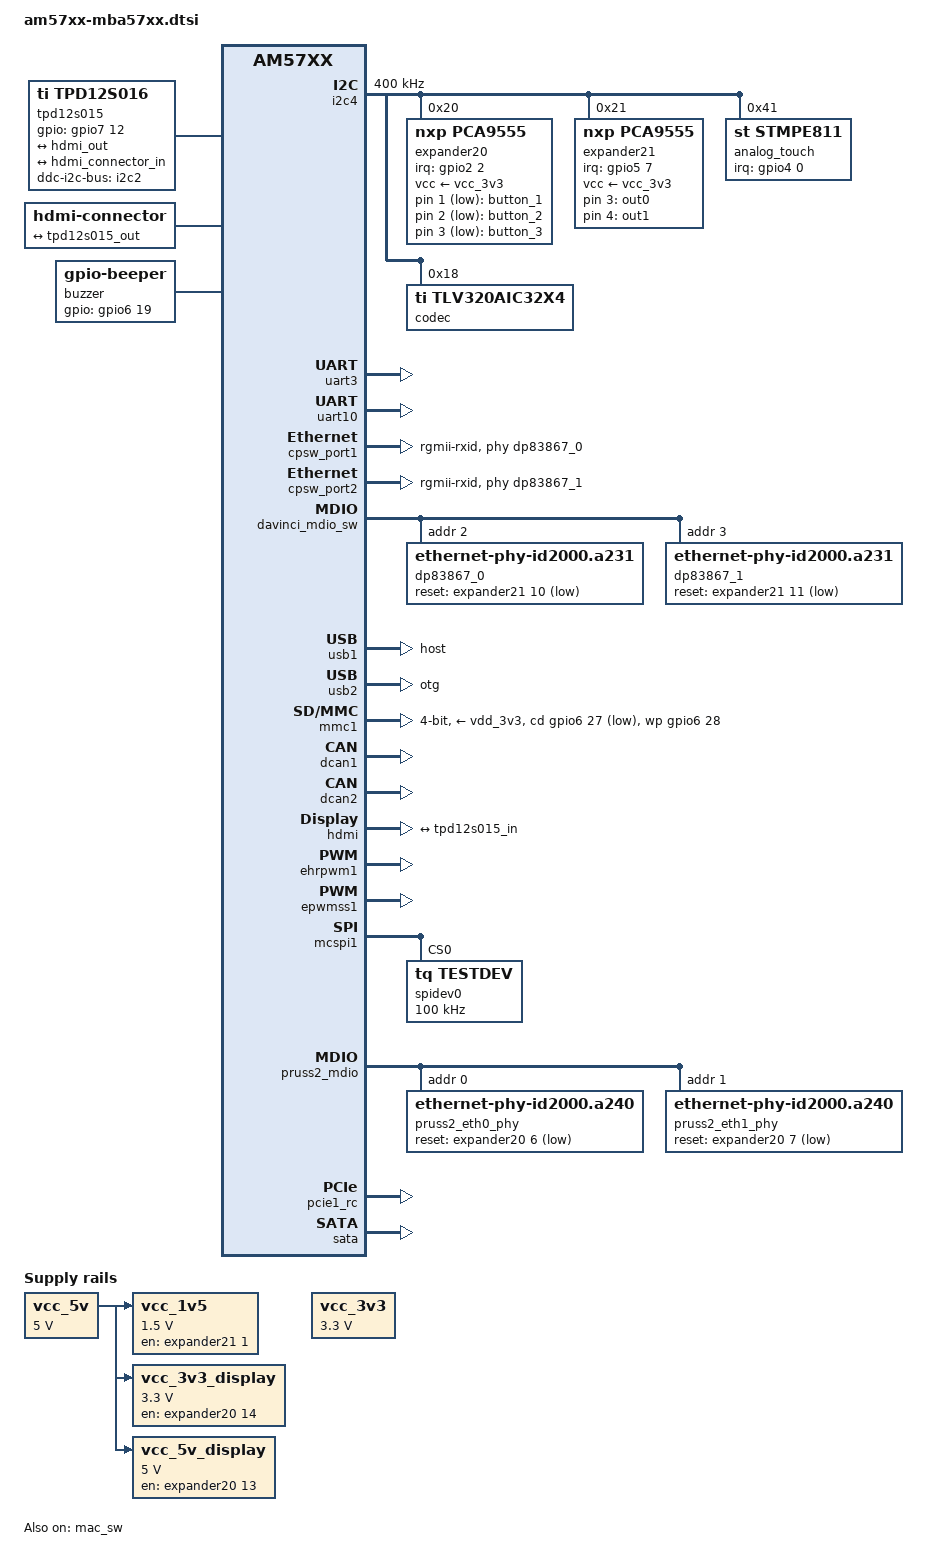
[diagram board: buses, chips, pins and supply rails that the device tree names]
// SPDX-License-Identifier: GPL-2.0-or-later OR MIT
/*
 * Device Tree file for TQ-Systems MBa57xx baseboard.
 *
 * Copyright (c) 2020-2022 TQ-Systems GmbH <linux@ew.tq-group.com>, D-82229 Seefeld, Germany.
 * Author: Michael Krummsdorf, Matthias Schiffer
 */

#include <dt-bindings/gpio/gpio.h>
#include <dt-bindings/interrupt-controller/irq.h>
#include <dt-bindings/net/ti-dp83867.h>
#include <dt-bindings/input/input.h>

/ {
	aliases {
		display0 = &hdmi0;
		ethernet2 = &pruss2_emac0;
		ethernet3 = &pruss2_emac1;
		mmc1 = &mmc1;
		spi1 = &mcspi1;
	};


	chosen {
		stdout-path = &uart3;
	};

	gpio-keys {
		compatible = "gpio-keys";

		button0 {
			label = "button_1";
			gpios = <&expander20 1 GPIO_ACTIVE_LOW>;
			linux,code = <KEY_HOME>;
			wakeup-source;
		};

		button1 {
			label = "button_2";
			gpios = <&expander20 2 GPIO_ACTIVE_LOW>;
			linux,code = <KEY_UP>;
			wakeup-source;
		};

		button2 {
			label = "button_3";
			gpios = <&expander20 3 GPIO_ACTIVE_LOW>;
			linux,code = <KEY_DOWN>;
			wakeup-source;
		};
	};

	gpio-leds {
		compatible = "gpio-leds";

		led-out0 {
			label = "out0";
			gpios = <&expander21 3 GPIO_ACTIVE_HIGH>;
			default-state = "off";
		};

		led-out1 {
			label = "out1";
			gpios = <&expander21 4 GPIO_ACTIVE_HIGH>;
			default-state = "off";
		};
	};

	/* HDMI companion chip */
	tpd12s015: encoder {
		compatible = "ti,tpd12s016", "ti,tpd12s015";
		gpios = <0>, /* optional CT_CP_HPD */
			<0>, /* optional LS_OE */
			<&gpio7 12 GPIO_ACTIVE_HIGH>;   /* HPD */
		pinctrl-names = "ddc";
		pinctrl-0 = <&hdmi_i2c_pins_ddc>;
		ddc-i2c-bus = <&i2c2>;

		ports {
			#address-cells = <1>;
			#size-cells = <0>;

			port@0 {
				reg = <0>;
				tpd12s015_in: endpoint@0 {
					remote-endpoint = <&hdmi_out>;
				};
			};

			port@1 {
				reg = <1>;
				tpd12s015_out: endpoint@0 {
					remote-endpoint = <&hdmi_connector_in>;
				};
			};
		};
	};

	hdmi0: hdmi-connector {
		compatible = "hdmi-connector";
		label = "hdmi";
		type = "a";

		port {
			hdmi_connector_in: endpoint {
				remote-endpoint = <&tpd12s015_out>;
			};
		};
	};

	vcc_5v: regulator-vcc_5v {
		compatible = "regulator-fixed";
		regulator-name = "VCC5V";
		regulator-min-microvolt = <5000000>;
		regulator-max-microvolt = <5000000>;
		regulator-always-on;
		regulator-boot-on;
	};

	vcc_3v3: regulator-vcc_3v3 {
		compatible = "regulator-fixed";
		regulator-name = "VCC3V3";
		regulator-min-microvolt = <3300000>;
		regulator-max-microvolt = <3300000>;
		regulator-always-on;
		regulator-boot-on;
	};

	/* miniPCIe */
	vcc_1v5: regulator-vcc_1v5 {
		/* TPS62090RGT */
		compatible = "regulator-fixed";
		regulator-name = "VCC1V5";
		vin-supply = <&vcc_5v>;
		regulator-min-microvolt = <1500000>;
		regulator-max-microvolt = <1500000>;
		gpio = <&expander21 1 GPIO_ACTIVE_HIGH>;
		enable-active-high;
		regulator-boot-on;
	};

	vcc_3v3_display: regulator-vcc_3v3_display {
		/* TPS62090RGT */
		compatible = "regulator-fixed";
		regulator-name = "VCC3V3_DISPLAY";
		vin-supply = <&vcc_5v>;
		regulator-min-microvolt = <3300000>;
		regulator-max-microvolt = <3300000>;
		gpio = <&expander20 14 GPIO_ACTIVE_HIGH>;
		enable-active-high;
		regulator-boot-on;
	};

	vcc_5v_display: regulator-vcc_5v_display {
		/* filtered vcc_5v */
		compatible = "regulator-fixed";
		regulator-name = "VCC5V_DISPLAY";
		vin-supply = <&vcc_5v>;
		regulator-min-microvolt = <5000000>;
		regulator-max-microvolt = <5000000>;
		/* LCD_BLT_EN */
		gpio = <&expander20 13 GPIO_ACTIVE_HIGH>;
		enable-active-high;
		regulator-boot-on;
	};

	/* Dual-MAC Ethernet application node on PRU-ICSS2 */
	pruss2_eth: pruss2_eth {
		compatible = "ti,am57-prueth";
		ti,prus = <&pru2_0>, <&pru2_1>;
		sram = <&ocmcram1>;
		mii-rt = <&pruss2_mii_rt>;
		iep = <&pruss2_iep>;
		interrupts = <20 2 2>, <21 3 3>;
		interrupt-names = "rx_lre_hp", "rx_lre_lp";
		interrupt-parent = <&pruss2_intc>;

		pruss2_emac0: ethernet-mii0 {
			phy-handle = <&pruss2_eth0_phy>;
			phy-mode = "mii";
			interrupts = <20 2 2>, <26 6 6>, <23 6 6>;
			interrupt-names = "rx", "emac_ptp_tx", "hsr_ptp_tx";
			ti,no-half-duplex;
			/* Filled in by bootloader */
			local-mac-address = [00 00 00 00 00 00];
		};

		pruss2_emac1: ethernet-mii1 {
			phy-handle = <&pruss2_eth1_phy>;
			phy-mode = "mii";
			interrupts = <21 3 3>, <27 9 7>, <24 9 7>;
			interrupt-names = "rx", "emac_ptp_tx", "hsr_ptp_tx";
			ti,no-half-duplex;
			/* Filled in by bootloader */
			local-mac-address = [00 00 00 00 00 00];
		};
	};

	buzzer {
		compatible = "gpio-beeper";
		gpios = <&gpio6 19 GPIO_ACTIVE_HIGH>;
	};
};

&pruss2_iep {
	interrupt-parent = <&pruss2_intc>;
	interrupts = <7 7 8>;
	interrupt-names = "iep_cap_cmp";
};

&i2c4 {
	clock-frequency = <400000>;
	status = "okay";

	/* Input/Output GPIO Port Expander 16 bit */
	expander20: gpio@20 {
		compatible = "nxp,pca9555";
		reg = <0x20>;
		interrupt-parent = <&gpio2>;
		interrupts = <2 IRQ_TYPE_EDGE_FALLING>;
		interrupt-controller;
		#interrupt-cells = <2>;
		gpio-controller;
		#gpio-cells = <2>;
		vcc-supply = <&vcc_3v3>;
		wakeup-source;
	};

	/* Output GPIO Port Expander 16 bit */
	expander21: gpio@21 {
		compatible = "nxp,pca9555";
		reg = <0x21>;
		interrupt-parent = <&gpio5>;
		interrupts = <7 IRQ_TYPE_EDGE_FALLING>;
		interrupt-controller;
		#interrupt-cells = <2>;
		gpio-controller;
		#gpio-cells = <2>;
		vcc-supply = <&vcc_3v3>;
		wakeup-source;

		/*
		 * Some board revisions erroneously connect PWR_EN_1V1 to VCC5V.
		 * As a safe default, hog the pin as an input, so the GPIO
		 * expander does not drive against VCC.
		 *
		 * On other board revisions, where this pin actually needs to
		 * be set to power the on-board USB hub, the bootloader will
		 * adjust the hog as needed.
		 */
		pwr_en_1v1 {
			gpio-hog;
			gpios = <2 GPIO_ACTIVE_HIGH>;
			input;
			line-name = "PWR_EN_1V1";
		};

		usb20_hub_rstn {
			gpio-hog;
			gpios = <12 GPIO_ACTIVE_HIGH>;
			output-high;
			line-name = "USB2.0_HUB_RST#";
		};

		usb30_hub_rstn {
			gpio-hog;
			gpios = <13 GPIO_ACTIVE_HIGH>;
			output-high;
			line-name = "USB3.0_HUB_RST#";
		};
	};

	/* touch controller */
	analog_touch: stmpe811@41 {
		compatible = "st,stmpe811";
		reg = <0x41>;
		/* touch interrupt TOUCH_INT#, native CPU GPIO4_0 */
		interrupts = <0 IRQ_TYPE_EDGE_FALLING>;
		interrupt-parent = <&gpio4>;
		interrupt-controller;
		id = <0>;
		blocks = <5>;
		irq-trigger = <0x1>;
		st,mod-12b = <1>;       /* 12-bit ADC */
		st,ref-sel = <0>;       /* internal ADC reference */
		st,adc-freq = <1>;      /* 3.25 MHz ADC clock speed */
		st,sample-time = <4>;   /* ADC converstion time: 80 clocks */

		stmpe_touchscreen {
			compatible = "st,stmpe-ts";
			/* 8 sample average control */
			st,ave-ctrl = <3>;
			/* 7 length fractional part in z */
			st,fraction-z = <7>;
			/*
			 * 50 mA typical 80 mA max touchscreen drivers
			 * current limit value
			 */
			st,i-drive = <1>;
			/* 1 ms panel driver settling time */
			st,settling = <3>;
			/* 5 ms touch detect interrupt delay */
			st,touch-det-delay = <5>;

			status = "disabled";
		};
	};

	/* TODO: Audio not implemented yet */
	codec: audio-codec@18 {
		compatible = "ti,tlv320aic32x4";
		reg = <0x18>;
	};
};

/* Debug UART */
&uart3 {
	interrupts-extended = <&crossbar_mpu GIC_SPI 69 IRQ_TYPE_LEVEL_HIGH
			       &dra7_pmx_core 0x3c0>;
	wakeup-source;
	status = "okay";
};

/* RS485 */
&uart10 {
	interrupts-extended = <&crossbar_mpu GIC_SPI 221 IRQ_TYPE_LEVEL_HIGH
			       &dra7_pmx_core 0x170>;
	linux,rs485-enabled-at-boot-time;
	status = "okay";
};

&mac_sw {
	status = "okay";
};

&cpsw_port1 {
	phy-handle = <&dp83867_0>;
	phy-mode = "rgmii-rxid";
	ti,dual-emac-pvid = <1>;
};

&cpsw_port2 {
	phy-handle = <&dp83867_1>;
	phy-mode = "rgmii-rxid";
	ti,dual-emac-pvid = <2>;
};

&davinci_mdio_sw {
	dp83867_0: ethernet-phy@2 {
		compatible = "ethernet-phy-id2000.a231",
			     "ethernet-phy-ieee802.3-c22";
		reg = <2>;
		ti,rx-internal-delay = <DP83867_RGMIIDCTL_2_75_NS>;
		ti,tx-internal-delay = <DP83867_RGMIIDCTL_250_PS>;
		ti,fifo-depth = <DP83867_PHYCR_FIFO_DEPTH_8_B_NIB>;
		ti,min-output-impedance;
		reset-gpios = <&expander21 10 GPIO_ACTIVE_LOW>;
		reset-assert-us = <2>;
	};

	dp83867_1: ethernet-phy@3 {
		compatible = "ethernet-phy-id2000.a231",
			     "ethernet-phy-ieee802.3-c22";
		reg = <3>;
		ti,rx-internal-delay = <DP83867_RGMIIDCTL_2_75_NS>;
		ti,tx-internal-delay = <DP83867_RGMIIDCTL_250_PS>;
		ti,fifo-depth = <DP83867_PHYCR_FIFO_DEPTH_8_B_NIB>;
		ti,min-output-impedance;
		reset-gpios = <&expander21 11 GPIO_ACTIVE_LOW>;
		reset-assert-us = <2>;
	};
};

&usb1 {
	dr_mode = "host";
};

&usb2 {
	pinctrl-names = "default";
	pinctrl-0 = <&usb2_id_pin>;
	dr_mode = "otg";
};

/* SD card */
&mmc1 {
	pinctrl-names = "default", "hs";
	pinctrl-0 = <&mmc1_pins_default>;
	pinctrl-1 = <&mmc1_pins_hs>;
	vmmc-supply = <&vdd_3v3>;
	vqmmc-supply = <&ldo1_reg>;
	bus-width = <4>;
	no-mmc;
	no-sdio;
	no-1-8-v;
	/delete-property/ mmc-ddr-1_8v;
	/delete-property/ mmc-ddr-3_3v;
	cd-debounce-delay-ms = <7>; /* Maximum supported by gpio-omap */
	cd-gpios = <&gpio6 27 GPIO_ACTIVE_LOW>; /* gpio 219 */
	wp-gpios = <&gpio6 28 GPIO_ACTIVE_HIGH>; /* gpio 220 */
	status = "okay";
};

&dcan1 {
	pinctrl-names = "default", "sleep", "active";
	pinctrl-0 = <&dcan1_pins_sleep>;
	pinctrl-1 = <&dcan1_pins_sleep>;
	pinctrl-2 = <&dcan1_pins_default>;
	status = "okay";
};

&dcan2 {
	pinctrl-names = "default", "sleep", "active";
	pinctrl-0 = <&dcan2_pins_sleep>;
	pinctrl-1 = <&dcan2_pins_sleep>;
	pinctrl-2 = <&dcan2_pins_default>;
	status = "okay";
};

&hdmi {
	vdda-supply = <&ldo4_reg>;
	status = "okay";

	port {
		hdmi_out: endpoint {
			remote-endpoint = <&tpd12s015_in>;
		};
	};
};

&ehrpwm1 {
	status = "okay";
};

&epwmss1 {
	status = "okay";
};

&mcspi1 {
	pinctrl-names = "default";
	pinctrl-0 = <&spi1_pins>;
	status = "okay";

	spidev0: spidev@0 {
		compatible = "tq,testdev";
		reg = <0>;
		spi-max-frequency = <100000>;
	};
};

&flash0_partitions {
	/* MTD partition table.
	 * The ROM checks the first four physical blocks
	 * for a valid file to boot and the flash here is
	 * 64KiB block size.
	 */
	partition@0 {
		label = "QSPI.SPL";
		reg = <0x00000000 0x000040000>;
	};
	partition@40000 {
		label = "QSPI.u-boot";
		reg = <0x00040000 0x00100000>;
	};
	partition@140000 {
		label = "QSPI.u-boot-spl-os";
		reg = <0x00140000 0x00080000>;
	};
	partition@1c0000 {
		label = "QSPI.u-boot-env";
		reg = <0x001c0000 0x00010000>;
	};
	partition@1d0000 {
		label = "QSPI.u-boot-env.backup1";
		reg = <0x001d0000 0x0010000>;
	};
	partition@1e0000 {
		label = "QSPI.kernel";
		reg = <0x001e0000 0x0800000>;
	};
	partition@9e0000 {
		label = "QSPI.file-system";
		reg = <0x009e0000 0x01620000>;
	};
};

&pruss2_mdio {
	status = "okay";

	pruss2_eth0_phy: ethernet-phy@0 {
		compatible = "ethernet-phy-id2000.a240",
			     "ethernet-phy-ieee802.3-c22";
		reg = <0>;
		reset-gpios = <&expander20 6 GPIO_ACTIVE_LOW>;
		reset-assert-us = <2>;
	};

	pruss2_eth1_phy: ethernet-phy@1 {
		compatible = "ethernet-phy-id2000.a240",
			     "ethernet-phy-ieee802.3-c22";
		reg = <1>;
		reset-gpios =  <&expander20 7 GPIO_ACTIVE_LOW>;
		reset-assert-us = <2>;
	};
};

&omap_dwc3_2 {
	extcon = <&extcon_usb2>;
};

&extcon_usb2 {
	/* WAKEUP3.gpio1_3 */
	id-gpio = <&gpio1 3 GPIO_ACTIVE_HIGH>;
};

/* PCIe lane 0 PCIe x4 connector */
&pcie1_rc {
	status = "okay";
};

&sata {
	status = "okay";
};

&gpio2 {
	pinctrl-names = "default";
	pinctrl-0 = <&gpio2_pins>;
};

&gpio5 {
	pinctrl-names = "default";
	pinctrl-0 = <&gpio5_pins>;
};

&dra7_pmx_core {
	dcan1_pins_default: dcan1_pins_default {
		pinctrl-single,pins = <
			DRA7XX_CORE_IOPAD(0x37d0, PIN_OUTPUT_PULLUP | MUX_MODE0)        /* dcan1_tx */
			DRA7XX_CORE_IOPAD(0x37d4, PIN_INPUT_PULLUP | MUX_MODE0)         /* dcan1_rx */
		>;
	};

	dcan1_pins_sleep: dcan1_pins_sleep {
		pinctrl-single,pins = <
			DRA7XX_CORE_IOPAD(0x37d0, MUX_MODE15 | PULL_UP) /* dcan1_tx.off */
			DRA7XX_CORE_IOPAD(0x37d4, MUX_MODE15 | PULL_UP) /* dcan1_rx.off */
		>;
	};

	dcan2_pins_default: dcan2_pins_default {
		pinctrl-single,pins = <
			DRA7XX_CORE_IOPAD(0x3688, PIN_OUTPUT_PULLUP | MUX_MODE2)        /* dcan2_tx */
			DRA7XX_CORE_IOPAD(0x368C, PIN_INPUT_PULLUP | MUX_MODE2)         /* dcan2_rx */
		>;
	};

	dcan2_pins_sleep: dcan2_pins_sleep {
		pinctrl-single,pins = <
			DRA7XX_CORE_IOPAD(0x3688, MUX_MODE15 | PULL_UP) /* dcan2_tx.off */
			DRA7XX_CORE_IOPAD(0x368C, MUX_MODE15 | PULL_UP) /* dcan2_rx.off */
		>;
	};

	hdmi_i2c_pins_ddc: pinmux_hdmi_i2c_pins_ddc {
		pinctrl-single,pins = <
			DRA7XX_CORE_IOPAD(0x3808, PIN_INPUT | MUX_MODE1) /* i2c2_sda.hdmi1_ddc_scl */
			DRA7XX_CORE_IOPAD(0x380c, PIN_INPUT | MUX_MODE1) /* i2c2_scl.hdmi1_ddc_sda */
		>;
	};

	gpio2_pins: pinmux_gpio2_pins {
		pinctrl-single,pins = <
			DRA7XX_CORE_IOPAD(0x3470, MUX_MODE14 | PIN_INPUT | WAKEUP_EN) /* gpmc_a12.gpio2_2 */
		>;
	};

	gpio5_pins: pinmux_gpio5_pins {
		pinctrl-single,pins = <
			DRA7XX_CORE_IOPAD(0x36C8, MUX_MODE14 | PIN_INPUT | WAKEUP_EN) /* gpio5_7.gpio5_7 */
		>;
	};

	spi1_pins: pinmux_spi1_pins {
		pinctrl-single,pins = <
			DRA7XX_CORE_IOPAD(0x37a4, PIN_INPUT | MUX_MODE0)         /* spi1_sclk */
			DRA7XX_CORE_IOPAD(0x37a8, PIN_OUTPUT | MUX_MODE0)        /* spi1_d1 */
			DRA7XX_CORE_IOPAD(0x37ac, PIN_INPUT_PULLUP | MUX_MODE0)  /* spi1_d0 */
			DRA7XX_CORE_IOPAD(0x37b0, PIN_OUTPUT | MUX_MODE0)        /* spi1_cs0 */
		>;
	};

	usb2_id_pin: usb2_id_pin {
		pinctrl-single,pins = <
			DRA7XX_CORE_IOPAD(0x3824, PIN_INPUT | MUX_MODE14)	/* WAKEUP3.gpio1_3 */
		>;
	};
};
